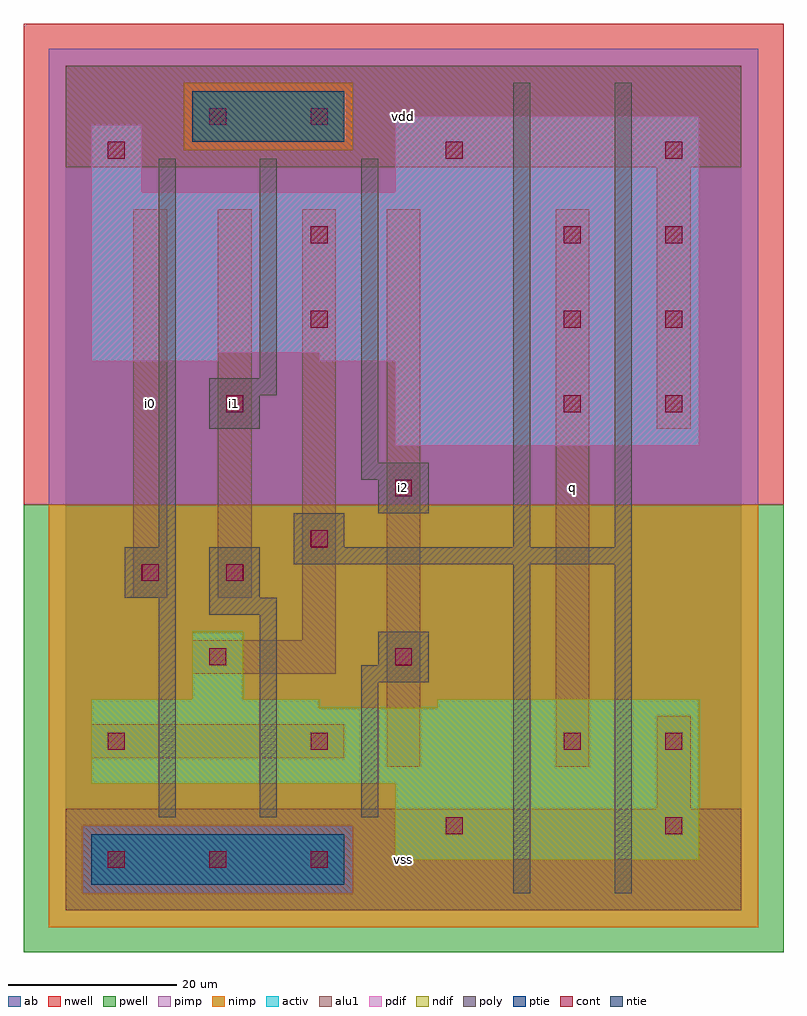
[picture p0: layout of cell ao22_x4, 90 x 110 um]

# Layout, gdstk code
import gdstk
lib = gdstk.Library(unit=1e-6, precision=1e-09)
def R(c, l, rs):  # rectangles x0, y0, x1, y1
    for r in rs: c.add(gdstk.rectangle(r[:2], r[2:], *l))
def A(c, l, x, y, w, h, nx, ny, dx, dy):  # array of equal rectangles
    R(c, l, [(x+i*dx, y+j*dy, x+i*dx+w, y+j*dy+h) for i in range(nx) for j in range(ny)])
ndif = (3, 0)
pdif = (4, 0)
ntie = (5, 0)
ptie = (6, 0)
cont = (25, 0)
pwell = (41, 0)
nwell = (42, 0)
activ = (43, 0)
pimp = (44, 0)
nimp = (45, 0)
poly = (46, 0)
alu1 = (49, 0)
ab = (63, 0)

ao22_x4 = lib.new_cell('ao22_x4')
R(ao22_x4, ndif, [(39,6,75,15), (3,15,75,24), (3,24,30,25), (44,24,75,25), (15,25,21,33)])
R(ao22_x4, pdif, [(39,55,75,65), (3,65,18,66), (30,65,75,66), (3,66,75,85), (3,85,9,93), (39,85,75,94)])
R(ao22_x4, ntie, [(15,91,33,97)])
R(ao22_x4, ptie, [(3,3,33,9)])
A(ao22_x4, cont, 5, 5, 2, 2, 3, 1, 12, 0)
A(ao22_x4, cont, 59, 59, 2, 2, 1, 3, 0, 10)
A(ao22_x4, cont, 71, 59, 2, 2, 1, 4, 0, 10)
R(ao22_x4, cont, [(45,9,47,11), (71,9,73,11), (5,19,7,21), (29,19,31,21), (59,19,61,21), (71,19,73,21), (17,29,19,31), (39,29,41,31), (9,39,11,41), (19,39,21,41), (29,43,31,45), (39,49,41,51), (19,59,21,61), (29,69,31,71), (29,79,31,81), (5,89,7,91), (45,89,47,91), (17,93,19,95), (29,93,31,95)])
R(ao22_x4, pwell, [(-5,-5,85,48)])
R(ao22_x4, nwell, [(-5,48,85,105)])
R(ao22_x4, activ, [(3,3,33,9), (39,6,75,15), (3,15,75,24), (3,24,30,25), (44,24,75,25), (15,25,21,33), (39,55,75,65), (3,65,18,66), (30,65,75,66), (3,66,75,85), (3,85,9,93), (39,85,75,94), (15,91,33,97)])
R(ao22_x4, pimp, [(2,2,34,10), (-2,48,82,90), (-2,90,14,98), (34,90,82,98), (-2,98,82,102)])
R(ao22_x4, nimp, [(-2,-2,82,2), (-2,2,2,10), (34,2,82,10), (-2,10,82,48), (14,90,34,98)])
R(ao22_x4, poly, [(53,2,55,41), (65,2,67,41), (11,11,13,37), (23,11,25,35), (35,11,37,27), (35,27,43,29), (37,29,43,33), (17,35,25,37), (7,37,13,43), (17,37,23,43), (27,41,67,43), (11,43,13,89), (27,43,33,47), (53,43,55,98), (65,43,67,98), (37,47,43,51), (35,51,43,53), (35,53,37,89), (17,57,23,61), (17,61,25,63), (23,63,25,89)])
R(ao22_x4, alu1, [(0,0,80,12), (70,12,74,23), (38,17,42,83), (58,17,62,83), (3,18,33,22), (15,28,32,32), (28,32,32,83), (8,37,12,83), (18,37,22,83), (70,57,74,88), (0,88,80,100)])
R(ao22_x4, ab, [(0,0,80,100)])
ao22_x4.add(gdstk.Label('i0', (10,60), layer=49, texttype=0))
ao22_x4.add(gdstk.Label('i1', (20,60), layer=49, texttype=0))
ao22_x4.add(gdstk.Label('vss', (40,6), layer=49, texttype=0))
ao22_x4.add(gdstk.Label('i2', (40,50), layer=49, texttype=0))
ao22_x4.add(gdstk.Label('vdd', (40,94), layer=49, texttype=0))
ao22_x4.add(gdstk.Label('q', (60,50), layer=49, texttype=0))

lib.write_gds('ao22_x4.gds')
